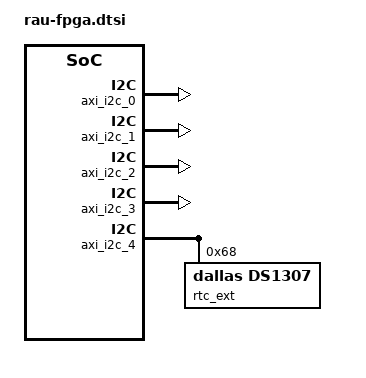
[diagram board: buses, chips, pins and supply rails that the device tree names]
#define FAN0_IRQ_NUM    89
#define FAN1_IRQ_NUM    90
#define FAN2_IRQ_NUM    91

#define ECP0_IRQ_NUM    92
#define ECP1_IRQ_NUM    93
#define ECP2_IRQ_NUM    94
#define ECP3_IRQ_NUM    95

#define LINK0_IRQ_NUM   96
//-------------------------
#define LINK1_IRQ_NUM   104
#define LINK2_IRQ_NUM   105
#define LINK3_IRQ_NUM   106
#define SFPIIC0_IRQ_NUM   107
#define SFPIIC1_IRQ_NUM   108
#define SFPIIC2_IRQ_NUM   109
#define SFPIIC3_IRQ_NUM   110

#define INTC0_IRQ_NUM     111

&fpga_axi {

#include "dts_rau_cpri_ecp.dtsi"

	//region0: BASICframedelay@a0002d40 {
	//	compatible = "generic-uio";
	//	reg = < 0x0 0xA0002D40 0x28 >;
	//};

	region1: old_CPRIx_FSinfo_SFinfo@a0002d60 {
		compatible = "generic-uio";
		reg = < 0x0 0xA0002D60 0x28 >;
	};

	//region2: new_CPRIx_FSinfo_SFinfo@a0002d80 {
	//	compatible = "generic-uio";
	//	reg = < 0x0 0xA0002D80 0x100 >;
	//};

	rau_glob_info: rau_glob_info@a0000000 {
		compatible = "rau,global-info-1.0";
		reg = <0x0 0xA0000000 0x10>;
	};

	//-------------- RTX carrier channel --------------------------
	////-------------- UL TX  (有限制)-------------------
	rtx_chn_axi_tx: RTX-channel-tx@a0000840 {
		#clock-cells = <1>;
		compatible = "rau,rtx-carrier-channel-0.1";
		//reg = <0xA0000840 0x800>;//总共
		reg = <0x0 0xA0000840 0x40>,
		      <0x0 0xA0000880 0x40>,
		      <0x0 0xA00008C0 0x40>,
		      <0x0 0xA0000900 0x40>,
		      <0x0 0xA0000940 0x40>,
		      <0x0 0xA0000980 0x40>,
		      <0x0 0xA00009C0 0x40>,
		      <0x0 0xA0000A00 0x40>,
		      <0x0 0xA0000A40 0x40>,
		      <0x0 0xA0000A80 0x40>,
		      <0x0 0xA0000AC0 0x40>,
		      <0x0 0xA0000B00 0x40>,
		      <0x0 0xA0000B40 0x40>,
		      <0x0 0xA0000B80 0x40>,
		      <0x0 0xA0000BC0 0x40>,
		      <0x0 0xA0000C00 0x40>,
		      <0x0 0xA0000C40 0x40>,
		      <0x0 0xA0000C80 0x40>,
		      <0x0 0xA0000CC0 0x40>,
		      <0x0 0xA0000D00 0x40>,
		      <0x0 0xA0000D40 0x40>,
		      <0x0 0xA0000D80 0x40>,
		      <0x0 0xA0000DC0 0x40>,
		      <0x0 0xA0000E00 0x40>,
		      <0x0 0xA0000E40 0x40>,
		      <0x0 0xA0000E80 0x40>,
		      <0x0 0xA0000EC0 0x40>,
		      <0x0 0xA0000F00 0x40>,
		      <0x0 0xA0000F40 0x40>,
		      <0x0 0xA0000F80 0x40>,
		      <0x0 0xA0000FC0 0x40>,
		      <0x0 0xA0001000 0x40>,
		      <0x0 0xA0001488 0x08>;// bw rst busy

		      dfe,node-is-uplink;
	};

	////-------------- DL RX  --------------------------

	rtx_chn_axi_rx: RTX-channel-rx@a0000040 {
		#clock-cells = <1>;
		compatible = "rau,rtx-carrier-channel-0.1";
		//reg = <0xA0000040 0x800>;//总共
		reg = <0x0 0xA0000040 0x40>,
		      <0x0 0xA0000080 0x40>,
		      <0x0 0xA00000C0 0x40>,
		      <0x0 0xA0000100 0x40>,
		      <0x0 0xA0000140 0x40>,
		      <0x0 0xA0000180 0x40>,
		      <0x0 0xA00001C0 0x40>,
		      <0x0 0xA0000200 0x40>,
		      <0x0 0xA0000240 0x40>,
		      <0x0 0xA0000280 0x40>,
		      <0x0 0xA00002C0 0x40>,
		      <0x0 0xA0000300 0x40>,
		      <0x0 0xA0000340 0x40>,
		      <0x0 0xA0000380 0x40>,
		      <0x0 0xA00003C0 0x40>,
		      <0x0 0xA0000400 0x40>,
		      <0x0 0xA0000440 0x40>,
		      <0x0 0xA0000480 0x40>,
		      <0x0 0xA00004C0 0x40>,
		      <0x0 0xA0000500 0x40>,
		      <0x0 0xA0000540 0x40>,
		      <0x0 0xA0000580 0x40>,
		      <0x0 0xA00005C0 0x40>,
		      <0x0 0xA0000600 0x40>,
		      <0x0 0xA0000640 0x40>,
		      <0x0 0xA0000680 0x40>,
		      <0x0 0xA00006C0 0x40>,
		      <0x0 0xA0000700 0x40>,
		      <0x0 0xA0000740 0x40>,
		      <0x0 0xA0000780 0x40>,
		      <0x0 0xA00007C0 0x40>,
		      <0x0 0xA0000800 0x40>,
		      <0x0 0xA0001480 0x08>;// bw rst busy

		clocks = <&rf_port_axi_7 0>, <&rf_port_axi_6 0>, <&rf_port_axi_5 0>, <&rf_port_axi_4 0>,
		         <&rf_port_axi_3 0>, <&rf_port_axi_2 0>, <&rf_port_axi_1 0>, <&rf_port_axi_0 0>;
		clock-names = "dl_lo_1a","dl_lo_1b","dl_lo_2a","dl_lo_2b",
			      "dl_lo_3a","dl_lo_3b","dl_lo_4a","dl_lo_4b";


	};
#define USE_AXCHUB
#if defined (USE_AXCHUB)
	axchub: axchub@a0001540 {
		compatible = "rau,axchub-0.1";
		reg = <0x0 0xA0001540 0x1800>, <0x0 0xA0002D40 0x40>;
		//reg = <0x0 0xA0001540 0x600>,
		//      <0x0 0xA0001B40 0x600>,
		//      <0x0 0xA0002140 0x600>,
		//      <0x0 0xA0002740 0x600>;
	};

//	axchub_0: axchub-0@a0001540 {
//		compatible = "rau,axchub-0.1";
//		reg = <0x0 0xA0001540 0x600>;//总共
//	};
//	axchub_1: axchub-1@a0001b40 {
//		compatible = "rau,axchub-0.1";
//		reg = <0x0 0xA0001B40 0x600>;//总共
//	};
//	axchub_2: axchub-2@a0002140 {
//		compatible = "rau,axchub-0.1";
//		reg = <0x0 0xA0002140 0x600>;//总共
//	};
//	axchub_3: axchub-3@a0002740 {
//		compatible = "rau,axchub-0.1";
//		reg = <0x0 0xA0002740 0x600>;//总共
//	};
#else
	//-------------- CPRI Route --------------------------
	cpri_route_0: cpri-route-0@a0001540 {
		compatible = "rau,cpri-route-0.1";
		//reg = <0xA0001540 0x600>;//总共
		reg = <0x0 0xA0001540 0x40>,
		      <0x0 0xA0001580 0x40>,
		      <0x0 0xA00015C0 0x40>,
		      <0x0 0xA0001600 0x40>,
		      <0x0 0xA0001640 0x40>,
		      <0x0 0xA0001680 0x40>,
		      <0x0 0xA00016C0 0x40>,
		      <0x0 0xA0001700 0x40>,
		      <0x0 0xA0001740 0x40>,
		      <0x0 0xA0001780 0x40>,
		      <0x0 0xA00017C0 0x40>,
		      <0x0 0xA0001800 0x40>,
		      <0x0 0xA0001840 0x40>,
		      <0x0 0xA0001880 0x40>,
		      <0x0 0xA00018C0 0x40>,
		      <0x0 0xA0001900 0x40>,
		      <0x0 0xA0001940 0x40>,
		      <0x0 0xA0001980 0x40>,
		      <0x0 0xA00019C0 0x40>,
		      <0x0 0xA0001A00 0x40>,
		      <0x0 0xA0001A40 0x40>,
		      <0x0 0xA0001A80 0x40>,
		      <0x0 0xA0001AC0 0x40>,
		      <0x0 0xA0001B00 0x40>;
	};
	cpri_route_1: cpri-route-1@a0001b40 {
		compatible = "rau,cpri-route-0.1";
		//reg = <0xA0001B40 0x600>;//总共
		reg = <0x0 0xA0001B40 0x40>,
		      <0x0 0xA0001B80 0x40>,
		      <0x0 0xA0001BC0 0x40>,
		      <0x0 0xA0001C00 0x40>,
		      <0x0 0xA0001C40 0x40>,
		      <0x0 0xA0001C80 0x40>,
		      <0x0 0xA0001CC0 0x40>,
		      <0x0 0xA0001D00 0x40>,
		      <0x0 0xA0001D40 0x40>,
		      <0x0 0xA0001D80 0x40>,
		      <0x0 0xA0001DC0 0x40>,
		      <0x0 0xA0001E00 0x40>,
		      <0x0 0xA0001E40 0x40>,
		      <0x0 0xA0001E80 0x40>,
		      <0x0 0xA0001EC0 0x40>,
		      <0x0 0xA0001F00 0x40>,
		      <0x0 0xA0001F40 0x40>,
		      <0x0 0xA0001F80 0x40>,
		      <0x0 0xA0001FC0 0x40>,
		      <0x0 0xA0002000 0x40>,
		      <0x0 0xA0002040 0x40>,
		      <0x0 0xA0002080 0x40>,
		      <0x0 0xA00020C0 0x40>,
		      <0x0 0xA0002100 0x40>;
	};
	cpri_route_2: cpri-route-2@a0002140 {
		compatible = "rau,cpri-route-0.1";
		//reg = <0xA0000000 0x600>;//总共
		reg = <0x0 0xA0002140 0x40>,
		      <0x0 0xA0002180 0x40>,
		      <0x0 0xA00021C0 0x40>,
		      <0x0 0xA0002200 0x40>,
		      <0x0 0xA0002240 0x40>,
		      <0x0 0xA0002280 0x40>,
		      <0x0 0xA00022C0 0x40>,
		      <0x0 0xA0002300 0x40>,
		      <0x0 0xA0002340 0x40>,
		      <0x0 0xA0002380 0x40>,
		      <0x0 0xA00023C0 0x40>,
		      <0x0 0xA0002400 0x40>,
		      <0x0 0xA0002440 0x40>,
		      <0x0 0xA0002480 0x40>,
		      <0x0 0xA00024C0 0x40>,
		      <0x0 0xA0002500 0x40>,
		      <0x0 0xA0002540 0x40>,
		      <0x0 0xA0002580 0x40>,
		      <0x0 0xA00025C0 0x40>,
		      <0x0 0xA0002600 0x40>,
		      <0x0 0xA0002640 0x40>,
		      <0x0 0xA0002680 0x40>,
		      <0x0 0xA00026C0 0x40>,
		      <0x0 0xA0002700 0x40>;
	};
	cpri_route_3: cpri-route-3@a0002740 {
		compatible = "rau,cpri-route-0.1";
		//reg = <0xA0000000 0x600>;//总共
		reg = <0x0 0xA0002740 0x40>,
		      <0x0 0xA0002780 0x40>,
		      <0x0 0xA00027C0 0x40>,
		      <0x0 0xA0002800 0x40>,
		      <0x0 0xA0002840 0x40>,
		      <0x0 0xA0002880 0x40>,
		      <0x0 0xA00028C0 0x40>,
		      <0x0 0xA0002900 0x40>,
		      <0x0 0xA0002940 0x40>,
		      <0x0 0xA0002980 0x40>,
		      <0x0 0xA00029C0 0x40>,
		      <0x0 0xA0002A00 0x40>,
		      <0x0 0xA0002A40 0x40>,
		      <0x0 0xA0002A80 0x40>,
		      <0x0 0xA0002AC0 0x40>,
		      <0x0 0xA0002B00 0x40>,
		      <0x0 0xA0002B40 0x40>,
		      <0x0 0xA0002B80 0x40>,
		      <0x0 0xA0002BC0 0x40>,
		      <0x0 0xA0002C00 0x40>,
		      <0x0 0xA0002C40 0x40>,
		      <0x0 0xA0002C80 0x40>,
		      <0x0 0xA0002CC0 0x40>,
		      <0x0 0xA0002D00 0x40>;
	};
#endif

	rf_port_axi_0: RF-Port-1A@a0001040 {
		#clock-cells = <1>;
		compatible = "rau,rf-port-0.1";
		reg = <0x0 0xA0001040 0x40>,
		      <0x0 0xA00014C0 0x04>, // Port_SW_Control
		      <0x0 0xA00014E0 0x04>; // PA_SW

		clocks = <&trx0_ad9371_d 3>, <&trx0_ad9371_d 4> ;
		clock-names = "lo_rx_freq","lo_tx_freq";

		clock-output-names = "rf0_lo_tx_freq", "rf0_lo_rx_freq";

	};

	rf_port_axi_1: RF-Port-1B@a0001080 {
		#clock-cells = <1>;
		compatible = "rau,rf-port-0.1";
		reg = <0x0 0xA0001080 0x40>,
		      <0x0 0xA00014C4 0x04>, // Port_SW_Control
		      <0x0 0xA00014E4 0x04>; // PA_SW

		clocks = <&trx0_ad9371_d 3>, <&trx0_ad9371_d 4> ;
		clock-names = "lo_rx_freq","lo_tx_freq";

		clock-output-names = "rf1_lo_tx_freq", "rf1_lo_rx_freq";
	};

	rf_port_axi_2: RF-Port-2A@a00010c0 {
		#clock-cells = <1>;
		compatible = "rau,rf-port-0.1";
		reg = <0x0 0xA00010C0 0x40>,
		      <0x0 0xA00014C8 0x04>, // Port_SW_Control
		      <0x0 0xA00014E8 0x04>; // PA_SW

		clocks = <&trx0_ad9371_c 3>, <&trx0_ad9371_c 4> ;
		clock-names = "lo_rx_freq","lo_tx_freq";

		clock-output-names = "rf2_lo_tx_freq", "rf2_lo_rx_freq";
	};

	rf_port_axi_3: RF-Port-2B@a0001100 {
		#clock-cells = <1>;
		compatible = "rau,rf-port-0.1";
		reg = <0x0 0xA0001100 0x40>,
		      <0x0 0xA00014CC 0x04>, // Port_SW_Control
		      <0x0 0xA00014EC 0x04>; // PA_SW

		clocks = <&trx0_ad9371_c 3>, <&trx0_ad9371_c 4> ;
		clock-names = "lo_rx_freq","lo_tx_freq";

		clock-output-names = "rf3_lo_tx_freq", "rf3_lo_rx_freq";
	};


	//-------------- port4 ~ port7 --------------------------

	rf_port_axi_4: RF-Port-3A@a0001140 {
		#clock-cells = <1>;
		compatible = "rau,rf-port-0.1";
		reg = <0x0 0xA0001140 0x40>,
		      <0x0 0xA00014D0 0x04>, // Port_SW_Control
		      <0x0 0xA00014F0 0x04>; // PA_SW

		clocks = <&trx0_ad9371_b 3>, <&trx0_ad9371_b 4> ;
		clock-names = "lo_rx_freq","lo_tx_freq";

		clock-output-names = "rf4_lo_tx_freq", "rf4_lo_rx_freq";

	};

	rf_port_axi_5: RF-Port-3B@a0001180 {
		#clock-cells = <1>;
		compatible = "rau,rf-port-0.1";
		reg = <0x0 0xA0001180 0x40>,
		      <0x0 0xA00014D4 0x04>, // Port_SW_Control
		      <0x0 0xA00014F4 0x04>; // PA_SW

		clocks = <&trx0_ad9371_b 3>, <&trx0_ad9371_b 4> ;
		clock-names = "lo_rx_freq","lo_tx_freq";

		clock-output-names = "rf5_lo_tx_freq", "rf5_lo_rx_freq";
	};

	rf_port_axi_6: RF-Port-4A@a00011c0 {
		#clock-cells = <1>;
		compatible = "rau,rf-port-0.1";
		reg = <0x0 0xA00011C0 0x40>,
		      <0x0 0xA00014D8 0x04>, // Port_SW_Control
		      <0x0 0xA00014F8 0x04>; // PA_SW

		clocks = <&trx0_ad9371_a 3>, <&trx0_ad9371_a 4> ;
		clock-names = "lo_rx_freq","lo_tx_freq";

		clock-output-names = "rf6_lo_tx_freq", "rf6_lo_rx_freq";
	};

	rf_port_axi_7: RF-Port-4B@a0001200 {
		#clock-cells = <1>;
		compatible = "rau,rf-port-0.1";
		reg = <0x0 0xA0001200 0x40>,
		      <0x0 0xA00014DC 0x04>, // Port_SW_Control
		      <0x0 0xA00014FC 0x04>; // PA_SW

		clocks = <&trx0_ad9371_a 3>, <&trx0_ad9371_a 4> ;
		clock-names = "lo_rx_freq","lo_tx_freq";

		clock-output-names = "rf7_lo_tx_freq", "rf7_lo_rx_freq";
	};



	mmi_ledc: mmi_ledc@a0001400 {
		compatible = "rau,emmi-ledc";
		reg = <0x0 0xA0001400 0x40>;

	};



};

&fpga_axi {

	axi_intc_1: interrupt-controller@a0024000 {
		#interrupt-cells = <2>;
		clocks = <&clkc 71>;
		compatible = "xlnx,xps-intc-1.00.a";
		interrupt-controller ;
		interrupt-parent = <&gic>;
		interrupts = <0 INTC0_IRQ_NUM IRQ_TYPE_LEVEL_HIGH>;
		reg = < 0x0 0xA0024000 0x1000 >;
		xlnx,kind-of-intr = <0x1>;
		xlnx,num-intr-inputs = <0x10>;
	};

	/*sfp i2c 0*/
	axi_i2c_0: axii2c0@a0020000 {
		compatible = "xlnx,xps-iic-2.00.a";
		interrupt-parent = <&gic>;
		clocks = <&clkc 71>;
		reg = < 0x0 0xa0020000 0x1000 >;
		interrupts = <0 SFPIIC0_IRQ_NUM IRQ_TYPE_LEVEL_HIGH>;
		#address-cells = <1>;
		#size-cells = <0>;
	};

	/*sfp i2c 1*/
	axi_i2c_1: axii2c1@a0021000 {
		compatible = "xlnx,xps-iic-2.00.a";
		interrupt-parent = <&gic>;
		clocks = <&clkc 71>;
		reg = < 0x0 0xa0021000 0x1000 >;
		interrupts = <0 SFPIIC1_IRQ_NUM IRQ_TYPE_LEVEL_HIGH>;
		#address-cells = <1>;
		#size-cells = <0>;
	};

	/*sfp i2c 2*/
	axi_i2c_2: axii2c2@a0022000 {
		compatible = "xlnx,xps-iic-2.00.a";
		interrupt-parent = <&gic>;
		clocks = <&clkc 71>;
		reg = < 0x0 0xa0022000 0x1000 >;
		interrupts = <0 SFPIIC2_IRQ_NUM IRQ_TYPE_LEVEL_HIGH>;
		#address-cells = <1>;
		#size-cells = <0>;
	};

	/*sfp i2c 3*/
	axi_i2c_3: axii2c3@a0023000 {
		compatible = "xlnx,xps-iic-2.00.a";
		interrupt-parent = <&gic>;
		clocks = <&clkc 71>;
		reg = < 0x0 0xa0023000 0x1000 >;
		interrupts = <0 SFPIIC3_IRQ_NUM IRQ_TYPE_LEVEL_HIGH>;
		#address-cells = <1>;
		#size-cells = <0>;
	};

	/*RTC I2C*/
	axi_i2c_4: axii2c4@a0025000 {
		compatible = "xlnx,xps-iic-2.00.a";
		interrupt-parent = <&axi_intc_1>;
		clocks = <&clkc 71>;
		reg = < 0x0 0xA0025000 0x1000 >;
		interrupts = <0 IRQ_TYPE_EDGE_FALLING >;
		#address-cells = <1>;
		#size-cells = <0>;

		rtc_ext: ds1307@68 {
			compatible = "dallas,ds1307";
			reg = <0x68>;
		};
	};

};


